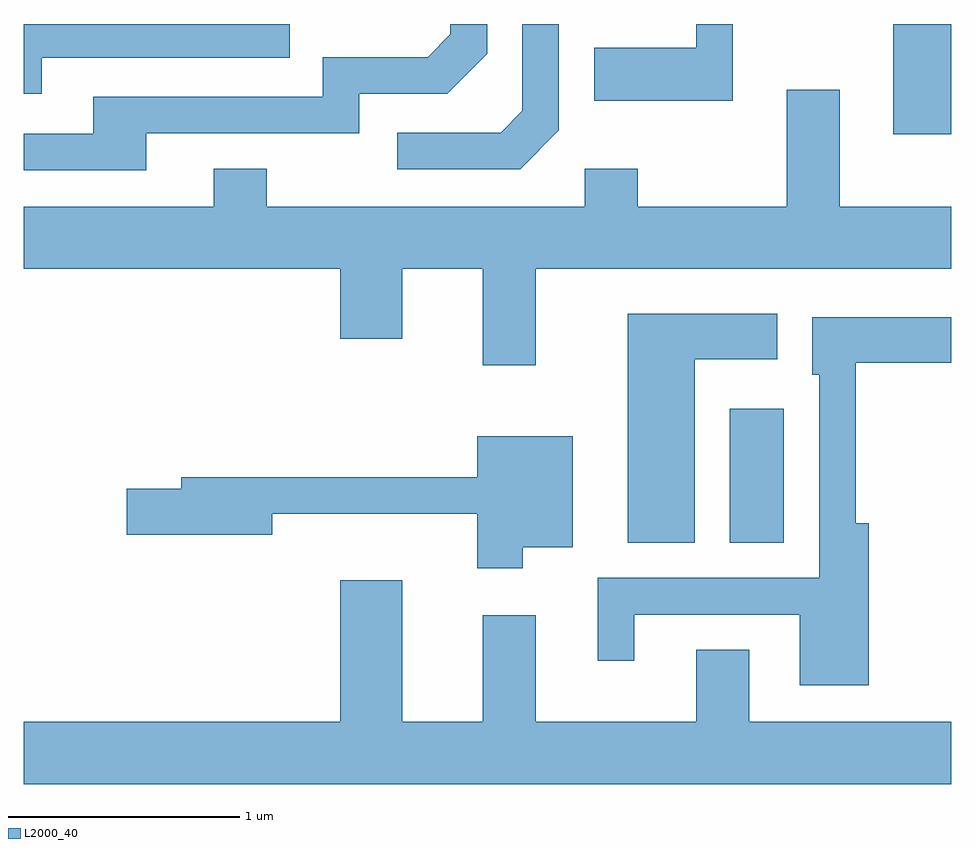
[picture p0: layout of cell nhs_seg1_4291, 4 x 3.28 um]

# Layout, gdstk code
import gdstk
lib = gdstk.Library(unit=1e-6, precision=1e-09)
def R(c, l, rs):  # rectangles x0, y0, x1, y1
    for r in rs: c.add(gdstk.rectangle(r[:2], r[2:], *l))
def P(c, l, *ps):  # polygons
    for p in ps: c.add(gdstk.Polygon(p, *l))
L2000_40 = (2000, 40)

nhs_seg1_4291 = lib.new_cell('nhs_seg1_4291')
R(nhs_seg1_4291, L2000_40, [(316.656,929.476,316.889,930.054), (317.361,931.236,317.611,931.712)])
P(nhs_seg1_4291, L2000_40, [(316.669,931.712),(316.511,931.712),(316.511,931.609),(316.071,931.609),(316.071,931.381),(316.669,931.381)],
  [(315.919,931.254),(315.919,931.712),(315.761,931.712),(315.761,931.337),(315.669,931.244),(315.223,931.244),(315.223,931.086),(315.752,931.086)],
  [(314.139,931.241),(315.059,931.241),(315.059,931.411),(315.437,931.411),(315.609,931.584),(315.609,931.712),(315.451,931.712),(315.451,931.667),(315.354,931.569),(314.901,931.569),(314.901,931.399),(313.911,931.399),(313.911,931.239),(313.611,931.239),(313.611,931.081),(314.139,931.081)],
  [(313.689,931.566),(314.758,931.566),(314.758,931.712),(313.611,931.712),(313.611,931.411),(313.689,931.411)],
  [(315.819,930.656),(317.611,930.656),(317.611,930.924),(317.129,930.924),(317.129,931.429),(316.901,931.429),(316.901,930.924),(316.259,930.924),(316.259,931.089),(316.031,931.089),(316.031,930.924),(314.659,930.924),(314.659,931.089),(314.431,931.089),(314.431,930.924),(313.611,930.924),(313.611,930.656),(314.976,930.656),(314.976,930.356),(315.244,930.356),(315.244,930.656),(315.591,930.656),(315.591,930.241),(315.819,930.241)],
  [(316.504,930.266),(316.859,930.266),(316.859,930.464),(316.216,930.464),(316.216,929.476),(316.504,929.476)],
  [(317.254,929.559),(317.199,929.559),(317.199,930.251),(317.611,930.251),(317.611,930.449),(317.011,930.449),(317.011,930.201),(317.041,930.201),(317.041,929.324),(316.086,929.324),(316.086,928.968),(316.244,928.968),(316.244,929.166),(316.956,929.166),(316.956,928.861),(317.254,928.861)],
  [(315.764,929.456),(315.979,929.456),(315.979,929.934),(315.566,929.934),(315.566,929.759),(314.291,929.759),(314.291,929.709),(314.056,929.709),(314.056,929.511),(314.684,929.511),(314.684,929.601),(315.566,929.601),(315.566,929.366),(315.764,929.366)],
  [(317.611,928.704),(316.739,928.704),(316.739,929.014),(316.511,929.014),(316.511,928.704),(315.819,928.704),(315.819,929.164),(315.591,929.164),(315.591,928.704),(315.244,928.704),(315.244,929.314),(314.976,929.314),(314.976,928.704),(313.611,928.704),(313.611,928.436),(317.611,928.436)])

lib.write_gds('nhs_seg1_4291.gds')
